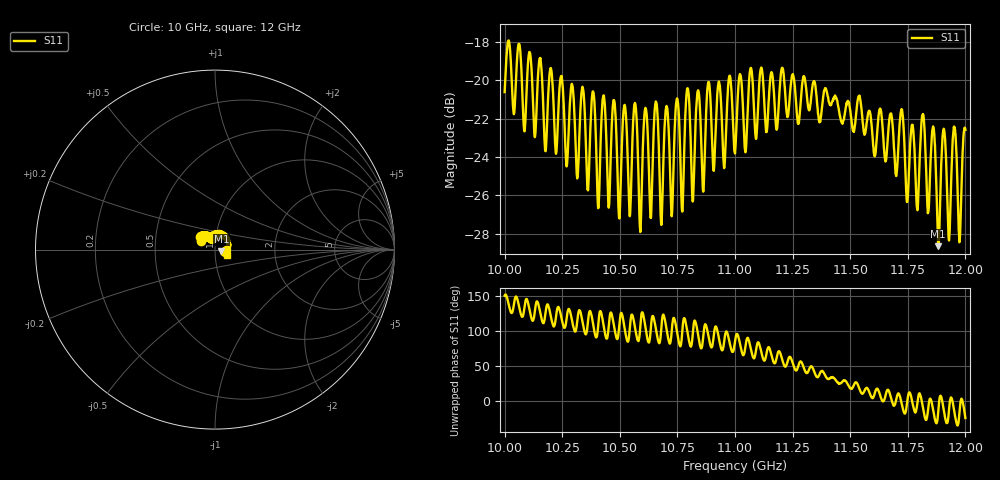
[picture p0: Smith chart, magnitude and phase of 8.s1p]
[Version] 2.0
! Rohde & Schwarz Vector Network Analyzer
! Rohde-Schwarz,ZNL20-2Port,1323001220200009,1.71.1.10-23.02.1.238
! Port Assignments:
! Nominal Port -> Actual Test Port
!  1 -> 1
! Created: GMT 2024-09-04 11:59:56
# Hz S DB R 50
[Number of Ports] 1
! freq[Hz]  S11[mag dB]  S11[ang]
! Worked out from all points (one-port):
!   2001 points, 10 GHz to 12 GHz, reference 50 ohm
!   lowest |S11| = -28.6 dB at 11.88 GHz (marker M1), VSWR 1.08, Z = 53.7 - j1.07 ohm
!   |S11| at or under -10 dB: start of sweep to end of sweep
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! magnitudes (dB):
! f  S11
! 10 GHz  -20.6
! 10.25 GHz  -20.0
! 10.36 GHz  -25.7
! 10.38 GHz  -20.6
! 10.41 GHz  -26.7
! 10.47 GHz  -21.1
! 10.5 GHz  -26.9
! 10.57 GHz  -21.2
! 10.59 GHz  -27.6
! 10.61 GHz  -21.4
! 10.63 GHz  -27.2
! 10.66 GHz  -21.1
! 10.73 GHz  -27.0
! 10.75 GHz  -21.0
! 10.77 GHz  -26.8
! 10.79 GHz  -20.4
! 10.82 GHz  -26.3
! 10.84 GHz  -20.5
! 10.86 GHz  -25.7
! 11 GHz  -23.8
! 11.25 GHz  -19.7
! 11.5 GHz  -21.6
! 11.75 GHz  -26.1
! 11.81 GHz  -21.8
! 11.88 GHz  -28.6
! 11.95 GHz  -22.4
! 11.98 GHz  -28.2
! 12 GHz  -22.6
